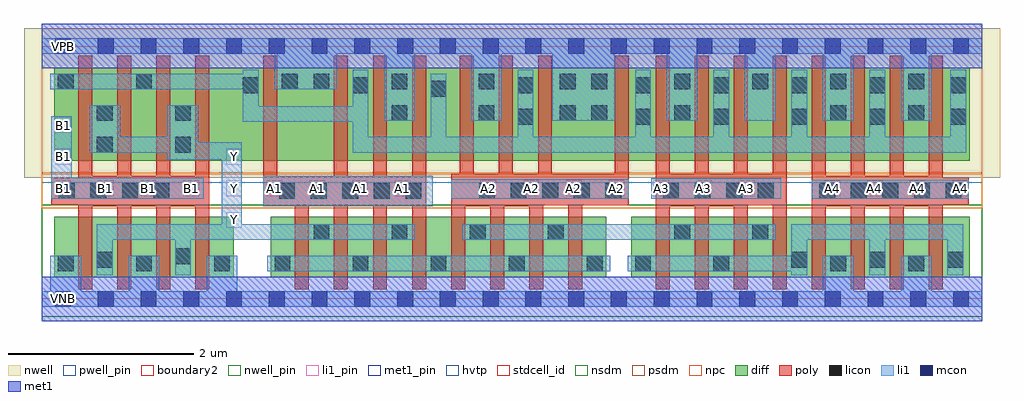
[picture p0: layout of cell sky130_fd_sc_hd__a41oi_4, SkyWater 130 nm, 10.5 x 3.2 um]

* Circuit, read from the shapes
.subckt sky130_fd_sc_hd__a41oi_4 A1 A2 A3 A4 B1 VGND VNB VPB VPWR Y
XM1 Y B1 VGND VNB sky130_fd_pr__nfet_01v8 w=0.65 l=0.15 m=4
XM2 Y A1 n1 VNB sky130_fd_pr__nfet_01v8 w=0.65 l=0.15 m=4
XM3 n2 A2 n1 VNB sky130_fd_pr__nfet_01v8 w=0.65 l=0.15 m=4
XM4 n2 A3 n3 VNB sky130_fd_pr__nfet_01v8 w=0.65 l=0.15 m=4
XM5 VGND A4 n3 VNB sky130_fd_pr__nfet_01v8 w=0.65 l=0.15 m=4
XM6 Y B1 n4 VPB sky130_fd_pr__pfet_01v8_hvt w=1 l=0.15 m=4
XM7 VPWR A1 n4 VPB sky130_fd_pr__pfet_01v8_hvt w=1 l=0.15 m=4
XM8 VPWR A2 n4 VPB sky130_fd_pr__pfet_01v8_hvt w=1 l=0.15 m=4
XM9 VPWR A3 n4 VPB sky130_fd_pr__pfet_01v8_hvt w=1 l=0.15 m=4
XM10 VPWR A4 n4 VPB sky130_fd_pr__pfet_01v8_hvt w=1 l=0.15 m=4
.ends

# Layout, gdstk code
import gdstk
lib = gdstk.Library(unit=1e-6, precision=1e-09)
def R(c, l, rs):  # rectangles x0, y0, x1, y1
    for r in rs: c.add(gdstk.rectangle(r[:2], r[2:], *l))
def A(c, l, x, y, w, h, nx, ny, dx, dy):  # array of equal rectangles
    R(c, l, [(x+i*dx, y+j*dy, x+i*dx+w, y+j*dy+h) for i in range(nx) for j in range(ny)])
def P(c, l, *ps):  # polygons
    for p in ps: c.add(gdstk.Polygon(p, *l))
nwell_pin = (64, 16)
nwell = (64, 20)
diff = (65, 20)
poly = (66, 20)
licon = (66, 44)
li1_pin = (67, 16)
li1 = (67, 20)
mcon = (67, 44)
met1_pin = (68, 16)
met1 = (68, 20)
hvtp = (78, 44)
stdcell_id = (81, 4)
nsdm = (93, 44)
psdm = (94, 20)
npc = (95, 20)
pwell_pin = (122, 16)
boundary2 = (236, 0)

sky130_fd_sc_hd__a41oi_4 = lib.new_cell('sky130_fd_sc_hd__a41oi_4')
R(sky130_fd_sc_hd__a41oi_4, nwell_pin, [(0.145,2.635,0.315,2.805), (0.145,2.635,0.315,2.805)])
R(sky130_fd_sc_hd__a41oi_4, nwell, [(-0.19,1.305,10.31,2.91)])
R(sky130_fd_sc_hd__a41oi_4, diff, [(0.135,0.235,2.065,0.885), (2.465,0.235,6.075,0.885), (6.345,0.235,9.985,0.885), (0.135,1.485,9.985,2.485)])
R(sky130_fd_sc_hd__a41oi_4, poly, [(0.105,1.015,0.395,1.025), (9.695,1.015,9.975,1.025), (0.105,1.295,0.395,1.305), (9.695,1.295,9.975,1.305)])
P(sky130_fd_sc_hd__a41oi_4, poly, [(9.975,1.295),(9.695,1.295),(9.695,2.615),(9.545,2.615),(9.545,1.325),(9.275,1.325),(9.275,2.615),(9.125,2.615),(9.125,1.325),(8.855,1.325),(8.855,2.615),(8.705,2.615),(8.705,1.325),(8.435,1.325),(8.435,2.615),(8.285,2.615),(8.285,0.105),(8.435,0.105),(8.435,0.995),(8.705,0.995),(8.705,0.105),(8.855,0.105),(8.855,0.995),(9.125,0.995),(9.125,0.105),(9.275,0.105),(9.275,0.995),(9.545,0.995),(9.545,0.105),(9.695,0.105),(9.695,1.025),(9.975,1.025)],
  [(8.015,2.615),(7.865,2.615),(7.865,1.345),(7.595,1.345),(7.595,2.615),(7.445,2.615),(7.445,1.345),(7.175,1.345),(7.175,2.615),(7.025,2.615),(7.025,1.345),(6.755,1.345),(6.755,2.615),(6.605,2.615),(6.605,0.105),(6.755,0.105),(6.755,0.995),(7.025,0.995),(7.025,0.105),(7.175,0.105),(7.175,0.995),(7.445,0.995),(7.445,0.105),(7.595,0.105),(7.595,1.01),(7.865,1.01),(7.865,0.105),(8.015,0.105)],
  [(6.315,2.615),(6.165,2.615),(6.165,1.345),(5.49,1.345),(5.49,2.615),(5.34,2.615),(5.34,1.345),(5.07,1.345),(5.07,2.615),(4.92,2.615),(4.92,1.345),(4.65,1.345),(4.65,2.615),(4.5,2.615),(4.5,1.345),(4.405,1.345),(4.405,0.105),(4.555,0.105),(4.555,0.995),(4.825,0.995),(4.825,0.105),(4.975,0.105),(4.975,0.995),(5.245,0.995),(5.245,0.105),(5.395,0.105),(5.395,1.01),(5.665,1.01),(5.665,0.105),(5.815,0.105),(5.815,1.01),(6.315,1.01)],
  [(4.135,2.615),(3.985,2.615),(3.985,1.325),(3.715,1.325),(3.715,2.615),(3.565,2.615),(3.565,1.325),(3.295,1.325),(3.295,2.615),(3.145,2.615),(3.145,1.325),(2.535,1.325),(2.535,2.615),(2.385,2.615),(2.385,0.995),(2.725,0.995),(2.725,0.105),(2.875,0.105),(2.875,0.995),(3.145,0.995),(3.145,0.105),(3.295,0.105),(3.295,0.995),(3.565,0.995),(3.565,0.105),(3.715,0.105),(3.715,0.995),(3.985,0.995),(3.985,0.105),(4.135,0.105)],
  [(1.805,2.615),(1.655,2.615),(1.655,1.325),(1.385,1.325),(1.385,2.615),(1.235,2.615),(1.235,1.325),(0.965,1.325),(0.965,2.615),(0.815,2.615),(0.815,1.325),(0.545,1.325),(0.545,2.615),(0.395,2.615),(0.395,1.295),(0.105,1.295),(0.105,1.025),(0.395,1.025),(0.395,0.105),(0.545,0.105),(0.545,0.995),(0.815,0.995),(0.815,0.105),(0.965,0.105),(0.965,0.995),(1.235,0.995),(1.235,0.105),(1.385,0.105),(1.385,0.995),(1.655,0.995),(1.655,0.105),(1.805,0.105)])
A(sky130_fd_sc_hd__a41oi_4, licon, 0.175, 0.295, 0.17, 0.17, 3, 1, 0.84, 0)
A(sky130_fd_sc_hd__a41oi_4, licon, 2.505, 0.295, 0.17, 0.17, 5, 1, 0.84, 0)
A(sky130_fd_sc_hd__a41oi_4, licon, 8.065, 0.335, 0.17, 0.17, 3, 1, 0.84, 0)
A(sky130_fd_sc_hd__a41oi_4, licon, 2.925, 0.635, 0.17, 0.17, 4, 1, 0.84, 0)
A(sky130_fd_sc_hd__a41oi_4, licon, 0.185, 1.075, 0.17, 0.17, 4, 1, 0.34, 0)
A(sky130_fd_sc_hd__a41oi_4, licon, 2.555, 1.075, 0.17, 0.17, 5, 1, 0.34, 0)
A(sky130_fd_sc_hd__a41oi_4, licon, 4.705, 1.075, 0.17, 0.17, 5, 1, 0.34, 0)
A(sky130_fd_sc_hd__a41oi_4, licon, 6.685, 1.075, 0.17, 0.17, 4, 1, 0.34, 0)
A(sky130_fd_sc_hd__a41oi_4, licon, 8.365, 1.075, 0.17, 0.17, 5, 1, 0.34, 0)
A(sky130_fd_sc_hd__a41oi_4, licon, 6.385, 1.875, 0.17, 0.17, 4, 2, 0.84, 0.34)
A(sky130_fd_sc_hd__a41oi_4, licon, 6.805, 2.255, 0.17, 0.17, 4, 1, 0.84, 0)
R(sky130_fd_sc_hd__a41oi_4, licon, [(6.385,0.295,6.555,0.465), (7.225,0.295,7.395,0.465), (8.485,0.295,8.655,0.465), (9.325,0.295,9.495,0.465), (0.595,0.335,0.765,0.505), (1.435,0.375,1.605,0.545), (6.805,0.635,6.975,0.805), (7.645,0.635,7.815,0.805), (0.595,1.575,0.765,1.745), (1.435,1.575,1.605,1.745), (5.12,1.875,5.29,2.045), (9.775,1.875,9.945,2.045), (0.595,1.915,0.765,2.085), (1.435,1.915,1.605,2.085), (3.765,1.915,3.935,2.085), (4.7,1.915,4.87,2.085), (5.575,1.915,5.745,2.085), (5.915,1.915,6.085,2.085), (6.805,1.915,6.975,2.085), (8.485,1.915,8.655,2.085), (9.325,1.915,9.495,2.085), (4.185,2.175,4.355,2.345), (2.165,2.215,2.335,2.385), (3.345,2.215,3.515,2.385), (5.12,2.215,5.29,2.385), (9.775,2.215,9.945,2.385), (0.175,2.255,0.345,2.425), (1.015,2.255,1.185,2.425), (2.585,2.255,2.755,2.425), (2.925,2.255,3.095,2.425), (3.765,2.255,3.935,2.425), (4.7,2.255,4.87,2.425), (5.575,2.255,5.745,2.425), (5.915,2.255,6.085,2.425)])
A(sky130_fd_sc_hd__a41oi_4, li1_pin, 0.145, 1.105, 0.17, 0.17, 5, 1, 0.46, 0)
A(sky130_fd_sc_hd__a41oi_4, li1_pin, 2.42, 1.105, 0.17, 0.17, 4, 1, 0.46, 0)
A(sky130_fd_sc_hd__a41oi_4, li1_pin, 4.72, 1.105, 0.17, 0.17, 4, 1, 0.46, 0)
A(sky130_fd_sc_hd__a41oi_4, li1_pin, 6.58, 1.105, 0.17, 0.17, 3, 1, 0.46, 0)
A(sky130_fd_sc_hd__a41oi_4, li1_pin, 8.42, 1.105, 0.17, 0.17, 4, 1, 0.46, 0)
R(sky130_fd_sc_hd__a41oi_4, li1_pin, [(1.985,0.765,2.155,0.935), (0.145,1.445,0.315,1.615), (1.985,1.445,2.155,1.615), (0.145,1.785,0.315,1.955)])
R(sky130_fd_sc_hd__a41oi_4, li1, [(2.425,0.295,6.115,0.465), (4.525,0.635,7.895,0.805), (2.385,0.995,4.205,1.325), (4.405,1.075,6.315,1.285), (6.56,1.075,7.955,1.3), (8.285,1.075,9.975,1.28)])
P(sky130_fd_sc_hd__a41oi_4, li1, [(10.12,0.085),(9.575,0.085),(9.575,0.465),(9.245,0.465),(9.245,0.085),(8.735,0.085),(8.735,0.465),(8.405,0.465),(8.405,0.085),(2.105,0.085),(2.105,0.465),(1.775,0.465),(1.775,0.085),(1.265,0.085),(1.265,0.465),(0.935,0.465),(0.935,0.085),(0.425,0.085),(0.425,0.465),(0.09,0.465),(0.09,0.085),(0,0.085),(0,-0.085),(10.12,-0.085)],
  [(9.915,0.805),(8.065,0.805),(8.065,0.465),(6.305,0.465),(6.305,0.295),(8.065,0.295),(8.065,0.255),(8.235,0.255),(8.235,0.635),(8.905,0.635),(8.905,0.255),(9.075,0.255),(9.075,0.635),(9.745,0.635),(9.745,0.255),(9.915,0.255)],
  [(4.015,0.805),(2.155,0.805),(2.155,1.685),(1.685,1.685),(1.685,2.085),(1.35,2.085),(1.35,1.745),(0.845,1.745),(0.845,2.085),(0.515,2.085),(0.515,1.575),(1.35,1.575),(1.35,1.495),(1.935,1.495),(1.935,0.805),(0.595,0.805),(0.595,0.255),(0.765,0.255),(0.765,0.635),(1.435,0.635),(1.435,0.255),(1.605,0.255),(1.605,0.635),(4.015,0.635)],
  [(10.12,2.805),(0,2.805),(0,2.635),(2.505,2.635),(2.505,2.255),(3.175,2.255),(3.175,2.635),(3.685,2.635),(3.685,1.915),(4.015,1.915),(4.015,2.635),(4.62,2.635),(4.62,1.915),(4.95,1.915),(4.95,2.635),(5.495,2.635),(5.495,1.915),(6.165,1.915),(6.165,2.635),(6.725,2.635),(6.725,1.915),(7.055,1.915),(7.055,2.635),(7.565,2.635),(7.565,1.915),(7.895,1.915),(7.895,2.635),(8.405,2.635),(8.405,1.915),(8.735,1.915),(8.735,2.635),(9.245,2.635),(9.245,1.915),(9.575,1.915),(9.575,2.635),(10.12,2.635)],
  [(1.745,1.305),(0.325,1.305),(0.325,1.965),(0.105,1.965),(0.105,1.075),(1.745,1.075)],
  [(9.945,2.465),(9.775,2.465),(9.775,1.745),(9.075,1.745),(9.075,2.465),(8.905,2.465),(8.905,1.745),(8.235,1.745),(8.235,2.465),(8.065,2.465),(8.065,1.745),(7.395,1.745),(7.395,2.465),(7.225,2.465),(7.225,1.745),(6.555,1.745),(6.555,2.465),(6.385,2.465),(6.385,1.745),(5.29,1.745),(5.29,2.465),(5.12,2.465),(5.12,1.745),(4.355,1.745),(4.355,2.425),(4.185,2.425),(4.185,1.745),(3.515,1.745),(3.515,2.465),(3.345,2.465),(3.345,2.075),(2.335,2.075),(2.335,2.465),(2.165,2.465),(2.165,2.425),(0.09,2.425),(0.09,2.255),(2.165,2.255),(2.165,1.905),(3.345,1.905),(3.345,1.575),(9.945,1.575)])
A(sky130_fd_sc_hd__a41oi_4, mcon, 0.145, -0.085, 0.17, 0.17, 22, 2, 0.46, 2.72)
R(sky130_fd_sc_hd__a41oi_4, met1_pin, [(0.145,-0.085,0.315,0.085), (0.145,-0.085,0.315,0.085), (0.145,2.635,0.315,2.805), (0.145,2.635,0.315,2.805)])
R(sky130_fd_sc_hd__a41oi_4, met1, [(0,-0.24,10.12,0.24), (0,2.48,10.12,2.96)])
R(sky130_fd_sc_hd__a41oi_4, hvtp, [(0,1.25,10.12,2.72)])
R(sky130_fd_sc_hd__a41oi_4, stdcell_id, [(0,0,10.12,2.72)])
R(sky130_fd_sc_hd__a41oi_4, nsdm, [(0,-0.19,10.12,1.015)])
R(sky130_fd_sc_hd__a41oi_4, psdm, [(0,1.355,10.12,2.91)])
R(sky130_fd_sc_hd__a41oi_4, npc, [(0,0.975,10.12,1.345)])
R(sky130_fd_sc_hd__a41oi_4, pwell_pin, [(0.145,-0.085,0.315,0.085), (0.145,-0.085,0.315,0.085)])
R(sky130_fd_sc_hd__a41oi_4, boundary2, [(0,0,10.12,2.72)])
sky130_fd_sc_hd__a41oi_4.add(gdstk.Label('B1', (1.61,1.19), layer=67, texttype=5))
sky130_fd_sc_hd__a41oi_4.add(gdstk.Label('A2', (5.725,1.19), layer=67, texttype=5))
sky130_fd_sc_hd__a41oi_4.add(gdstk.Label('A1', (2.965,1.19), layer=67, texttype=5))
sky130_fd_sc_hd__a41oi_4.add(gdstk.Label('A1', (3.425,1.19), layer=67, texttype=5))
sky130_fd_sc_hd__a41oi_4.add(gdstk.Label('A4', (9.425,1.19), layer=67, texttype=5))
sky130_fd_sc_hd__a41oi_4.add(gdstk.Label('A4', (8.965,1.19), layer=67, texttype=5))
sky130_fd_sc_hd__a41oi_4.add(gdstk.Label('A4', (8.505,1.19), layer=67, texttype=5))
sky130_fd_sc_hd__a41oi_4.add(gdstk.Label('A3', (7.125,1.19), layer=67, texttype=5))
sky130_fd_sc_hd__a41oi_4.add(gdstk.Label('A3', (6.665,1.19), layer=67, texttype=5))
sky130_fd_sc_hd__a41oi_4.add(gdstk.Label('A4', (9.885,1.19), layer=67, texttype=5))
sky130_fd_sc_hd__a41oi_4.add(gdstk.Label('A2', (5.265,1.19), layer=67, texttype=5))
sky130_fd_sc_hd__a41oi_4.add(gdstk.Label('A2', (4.805,1.19), layer=67, texttype=5))
sky130_fd_sc_hd__a41oi_4.add(gdstk.Label('A3', (7.585,1.19), layer=67, texttype=5))
sky130_fd_sc_hd__a41oi_4.add(gdstk.Label('A1', (3.885,1.19), layer=67, texttype=5))
sky130_fd_sc_hd__a41oi_4.add(gdstk.Label('A2', (6.185,1.19), layer=67, texttype=5))
sky130_fd_sc_hd__a41oi_4.add(gdstk.Label('Y', (2.07,1.19), layer=67, texttype=5))
sky130_fd_sc_hd__a41oi_4.add(gdstk.Label('Y', (2.07,1.53), layer=67, texttype=5))
sky130_fd_sc_hd__a41oi_4.add(gdstk.Label('A1', (2.505,1.19), layer=67, texttype=5))
sky130_fd_sc_hd__a41oi_4.add(gdstk.Label('B1', (1.15,1.19), layer=67, texttype=5))
sky130_fd_sc_hd__a41oi_4.add(gdstk.Label('B1', (0.23,1.19), layer=67, texttype=5))
sky130_fd_sc_hd__a41oi_4.add(gdstk.Label('B1', (0.23,1.53), layer=67, texttype=5))
sky130_fd_sc_hd__a41oi_4.add(gdstk.Label('B1', (0.23,1.87), layer=67, texttype=5))
sky130_fd_sc_hd__a41oi_4.add(gdstk.Label('B1', (0.69,1.19), layer=67, texttype=5))
sky130_fd_sc_hd__a41oi_4.add(gdstk.Label('Y', (2.07,0.85), layer=67, texttype=5))
sky130_fd_sc_hd__a41oi_4.add(gdstk.Label('VNB', (0.23,0), layer=64, texttype=59))
sky130_fd_sc_hd__a41oi_4.add(gdstk.Label('VNB', (0.23,0), layer=64, texttype=59))
sky130_fd_sc_hd__a41oi_4.add(gdstk.Label('VPB', (0.23,2.72), layer=64, texttype=5))
sky130_fd_sc_hd__a41oi_4.add(gdstk.Label('VPB', (0.23,2.72), layer=64, texttype=5))
sky130_fd_sc_hd__a41oi_4.add(gdstk.Label('VGND', (0.23,0), layer=68, texttype=5))
sky130_fd_sc_hd__a41oi_4.add(gdstk.Label('VPWR', (0.23,2.72), layer=68, texttype=5))
sky130_fd_sc_hd__a41oi_4.add(gdstk.Label('VPWR', (0.23,2.72), layer=68, texttype=5))
sky130_fd_sc_hd__a41oi_4.add(gdstk.Label('VGND', (0.23,0), layer=68, texttype=5))
sky130_fd_sc_hd__a41oi_4.add(gdstk.Label('a41oi_4', (0,0), layer=83, texttype=44))

lib.write_gds('sky130_fd_sc_hd__a41oi_4.gds')
